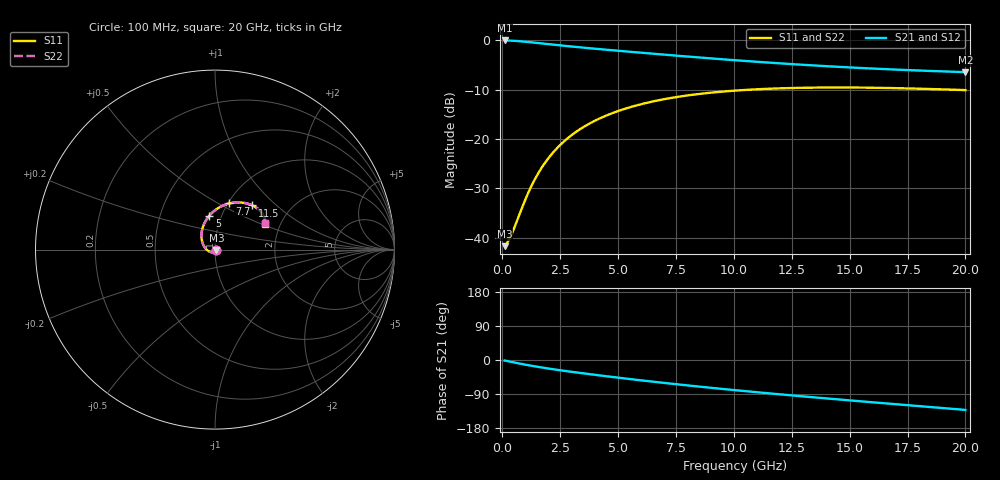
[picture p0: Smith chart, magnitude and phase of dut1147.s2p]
! Touchstone file exported from HFSS 2024.1.0
!  File:  C:/UserFiles/LocalFiles/RDL_TSV_Batchsim/temp_RDL_TSV_1147_1780116141.aedt
!  Generated:  12:54:22 PM May 30, 2026
!  Design:  RDL_TSV
!  Project:  temp_RDL_TSV_1147_1780116141
!  Setup:  Setup1
!  Solution:  Sweep
! Variables:
!  dtsv = 13.7um
!  hbump = 3um
!  htsv = 55.97um
!  ldown = 331.79um
!  lrdl = 200.67um
!  p = 40
!  p1 = 52.7um
!  rhole = 10um
!  subl = 1798.05um
!  t = 450um
!  tdown = 4.41um
!  trdl = 3.77um
!  viad = 10um
!  wdown = 27.43um
!  wrdl = 16.78um
!  xbump = 18um
# GHz S MA R 50.000000
! Terminal data exported
! Port[1] = TM1_1_T1
! Port[2] = TM1_4_T1
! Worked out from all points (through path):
!   200 points, 100 MHz to 20 GHz, reference 50 ohm
!   highest |S21| = -0.07 dB at 100 MHz (marker M1); lowest = -6.5 dB at 20 GHz (marker M2)
!   group delay of S21, straight-line fit = 17.2 ps
!   lowest |S11| = -41.7 dB at 100 MHz (marker M3), VSWR 1.02, Z = 50.8 - j0.246 ohm
!   |S11| at or under -10 dB: start of sweep to 10.81 GHz; 19.23 GHz to end of sweep
!   |S22| runs from -41.7 to -9.6 dB; largest |S21 - S12| = 1.9e-13
!   S11 on the Smith chart (normalised r, x): 100 MHz: 1.02, -0.00; 5 GHz: 0.88, +0.34; 7.7 GHz: 1.02, +0.56; 11.5 GHz: 1.30, +0.71; 20 GHz: 1.66, +0.53
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0.1  0.008232 -17.1  0.9914 -1.3  0.9914 -1.3  0.008231 -17.1
! Gamma 0 0 0 0
! Port Impedance 50 0 50 0
0.2  0.008807 -34.8  0.9901 -2.6  0.9901 -2.6  0.008806 -34.8
0.4  0.01083 -69.4  0.986 -5.2  0.986 -5.2  0.01083 -69.4
0.9  0.0215 -133.0  0.9674 -11.2  0.9674 -11.2  0.02151 -133.1
1.2  0.03129 -157.1  0.9525 -14.6  0.9525 -14.6  0.03131 -157.1
1.4  0.03882 -169.6  0.9419 -16.7  0.9419 -16.7  0.03886 -169.6
1.7  0.05116 175.2  0.9257 -19.7  0.9257 -19.7  0.05121 175.1
2.1  0.06878 159.1  0.9044 -23.5  0.9044 -23.5  0.06886 159.1
2.5  0.08697 146.4  0.884 -27.0  0.884 -27.0  0.08708 146.4
3  0.1097 133.5  0.8603 -31.2  0.8603 -31.2  0.1098 133.5
3.5  0.1318 123.0  0.8384 -35.3  0.8384 -35.3  0.132 123.0
4.2  0.161 110.8  0.81 -40.7  0.81 -40.7  0.1613 110.8
5  0.1915 99.6  0.7799 -46.6  0.7799 -46.6  0.1918 99.6
5.8  0.2186 90.2  0.7517 -52.3  0.7517 -52.3  0.2189 90.2
6.8  0.2475 80.3  0.7184 -59.2  0.7184 -59.2  0.248 80.3
7.7  0.2692 72.8  0.6904 -65.1  0.6904 -65.1  0.2697 72.8
8.8  0.2904 64.9  0.6585 -72.1  0.6585 -72.1  0.2909 64.9
10.1  0.3089 57.0  0.6244 -79.9  0.6244 -79.9  0.3094 57.0
11.5  0.3219 49.9  0.5919 -87.9  0.5919 -87.9  0.3225 49.9
13.4  0.3305 42.1  0.5547 -98.2  0.5547 -98.2  0.3311 42.1
16.7  0.3276 32.6  0.5064 -115.2  0.5064 -115.2  0.3282 32.7
20  0.312 27.7  0.474 -131.7  0.474 -131.7  0.3127 27.7
